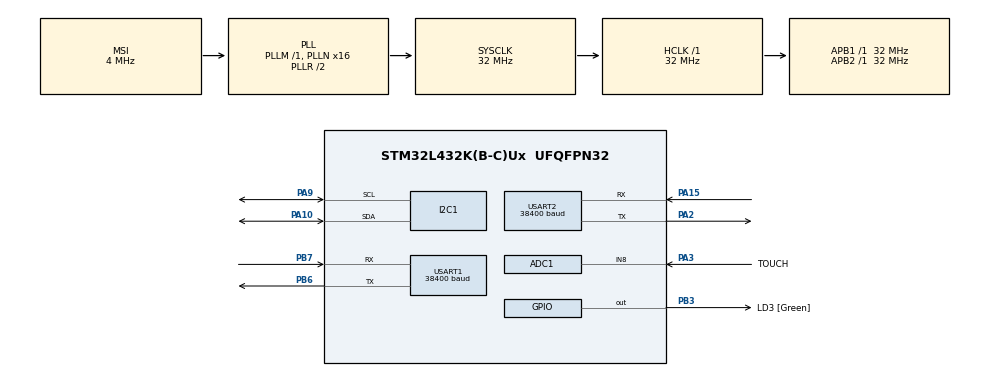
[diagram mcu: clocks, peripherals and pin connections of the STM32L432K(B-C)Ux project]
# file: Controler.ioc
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ADC1.Channel-0\#ChannelRegularConversion=ADC_CHANNEL_8
ADC1.ContinuousConvMode=DISABLE
ADC1.NbrOfConversionFlag=1
ADC1.OffsetNumber-0\#ChannelRegularConversion=ADC_OFFSET_NONE
ADC1.Rank-0\#ChannelRegularConversion=1
ADC1.SamplingTime-0\#ChannelRegularConversion=ADC_SAMPLETIME_2CYCLES_5
ADC1.master=1
I2C1.Timing=0x00707CBB
Mcu.Family=STM32L4
Mcu.Name=STM32L432K(B-C)Ux
Mcu.Package=UFQFPN32
NVIC.ADC1_IRQn=true\:0\:0\:false\:false\:true\:true\:true\:true
NVIC.PriorityGroup=NVIC_PRIORITYGROUP_4
NVIC.TIM2_IRQn=true\:0\:0\:false\:false\:true\:true\:true\:true
PA0.GPIO_Label=MCO [High speed clock in]
PA0.Mode=HSE-External-Clock-Source-for-LittleOrca
PA0.Signal=RCC_CK_IN
PA10.Mode=I2C
PA10.Signal=I2C1_SDA
PA13\ (JTMS-SWDIO).GPIO_Label=SWDIO
PA13\ (JTMS-SWDIO).Mode=Serial_Wire
PA13\ (JTMS-SWDIO).Signal=SYS_JTMS-SWDIO
PA14\ (JTCK-SWCLK).GPIO_Label=SWCLK
PA14\ (JTCK-SWCLK).Mode=Serial_Wire
PA14\ (JTCK-SWCLK).Signal=SYS_JTCK-SWCLK
PA15\ (JTDI).Mode=Asynchronous
PA15\ (JTDI).Signal=USART2_RX
PA2.Mode=Asynchronous
PA2.Signal=USART2_TX
PA3.GPIO_Label=TOUCH
PA3.Signal=ADCx_IN8
PA9.Mode=I2C
PA9.Signal=I2C1_SCL
PB3\ (JTDO-TRACESWO).GPIO_Label=LD3 [Green]
PB3\ (JTDO-TRACESWO).Signal=GPIO_Output
PB6.Mode=Asynchronous
PB6.Signal=USART1_TX
PB7.Mode=Asynchronous
PB7.Signal=USART1_RX
PC14-OSC32_IN\ (PC14).Mode=LSE-External-Oscillator
PC14-OSC32_IN\ (PC14).Signal=RCC_OSC32_IN
PC15-OSC32_OUT\ (PC15).Mode=LSE-External-Oscillator
PC15-OSC32_OUT\ (PC15).Signal=RCC_OSC32_OUT
ProjectManager.HeapSize=0x200
ProjectManager.StackSize=0x400
ProjectManager.TargetToolchain=STM32CubeIDE
RCC.ADCFreq_Value=32000000
RCC.AHBFreq_Value=32000000
RCC.APB1Freq_Value=32000000
RCC.APB1TimFreq_Value=32000000
RCC.APB2Freq_Value=32000000
RCC.APB2TimFreq_Value=32000000
RCC.CortexFreq_Value=32000000
RCC.HCLKFreq_Value=32000000
RCC.HSE_VALUE=8000000
RCC.HSI16_VALUE=16000000
RCC.HSI48_VALUE=48000000
RCC.HSI_VALUE=16000000
RCC.MSI_VALUE=4000000
RCC.PLLMUL=RCC_PLLMUL_4
RCC.PLLN=16
RCC.PLLSAI1N=16
RCC.SYSCLKFreq_VALUE=32000000
RCC.SYSCLKSource=RCC_SYSCLKSOURCE_PLLCLK
RCC.USBFreq_Value=32000000
RCC.VCOOutputFreq_Value=64000000
SH.ADCx_IN8.0=ADC1_IN8,IN8-Single-Ended
TIM2.AutoReloadPreload=TIM_AUTORELOAD_PRELOAD_ENABLE
TIM2.Period=1000
TIM2.Prescaler=3199
USART1.BaudRate=38400
USART1.VirtualMode-Asynchronous=VM_ASYNC
USART2.BaudRate=38400
USART2.VirtualMode-Asynchronous=VM_ASYNC
VP_TIM2_VS_ClockSourceINT.Mode=Internal
board=NUCLEO-L432KC

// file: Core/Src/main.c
/* USER CODE BEGIN Header */
/**
  ******************************************************************************
  * @file           : main.c
  * @brief          : Main program body
  ******************************************************************************
  * @attention
  *
  * Copyright (c) 2022 STMicroelectronics.
  * All rights reserved.
  *
  * This software is licensed under terms that can be found in the LICENSE file
  * in the root directory of this software component.
  * If no LICENSE file comes with this software, it is provided AS-IS.
  *
  ******************************************************************************
  */
/* USER CODE END Header */
#include "main.h"
#include "adc.h"
#include "i2c.h"
#include "tim.h"
#include "usart.h"
#include "gpio.h"

/* USER CODE BEGIN Includes */
#include <stdio.h>
#include "mpu6050.h"
#include "parser.h"
/* USER CODE END Includes */

/* USER CODE BEGIN PD */
#define TxBuf_SIZE 24
#define FORCE_LIMIT 1000
/* USER CODE END PD */

/* USER CODE BEGIN PV */
uint8_t f_initialized = 0;

MPU6050_t mpu;
MPU6050_t mpu_empty = {0};
uint32_t value;
uint8_t TxBuf[TxBuf_SIZE];
/* USER CODE END PV */

void SystemClock_Config(void);

/* USER CODE BEGIN 0 */
void HAL_TIM_PeriodElapsedCallback(TIM_HandleTypeDef* htim)
{
    if(htim == &htim2)
    {
    	if(f_initialized == 1)
    	{
    		if (HAL_ADC_PollForConversion(&hadc1, 10) == HAL_OK)
    		{
				value = HAL_ADC_GetValue(&hadc1);
				HAL_ADC_Start(&hadc1);
    		}
    		else
    		{
    			if(ParseAccelAngles(TxBuf, TxBuf_SIZE, &mpu_empty) == HAL_OK)
				{
					HAL_UART_Transmit(&huart1, TxBuf, TxBuf_SIZE,100);
					HAL_UART_Transmit(&huart2, TxBuf, TxBuf_SIZE,100);
					HAL_GPIO_TogglePin(LD3_GPIO_Port, LD3_Pin);
				}
    		}

    		if(value > FORCE_LIMIT)
    		{
        		MPU6050_Read_All(&hi2c1, &mpu);
        		if(ParseAccelAngles(TxBuf, TxBuf_SIZE, &mpu) == HAL_OK)
        		{
        			HAL_UART_Transmit(&huart1, TxBuf, TxBuf_SIZE,100);
        			HAL_UART_Transmit(&huart2, TxBuf, TxBuf_SIZE,100);
        			HAL_GPIO_TogglePin(LD3_GPIO_Port, LD3_Pin);
        		}
    		}
    		else
    		{
    			if(ParseAccelAngles(TxBuf, TxBuf_SIZE, &mpu_empty) == HAL_OK)
				{
					HAL_UART_Transmit(&huart1, TxBuf, TxBuf_SIZE,100);
					HAL_UART_Transmit(&huart2, TxBuf, TxBuf_SIZE,100);
					HAL_GPIO_TogglePin(LD3_GPIO_Port, LD3_Pin);
				}
    		}
    	}
    }
}
/* USER CODE END 0 */

int main(void)
{

  /* MCU Configuration--------------------------------------------------------*/

  /* Reset of all peripherals, Initializes the Flash interface and the Systick. */
  HAL_Init();

  /* Configure the system clock */
  SystemClock_Config();

  /* Initialize all configured peripherals */
  MX_GPIO_Init();
  MX_I2C1_Init();
  MX_USART1_UART_Init();
  MX_TIM2_Init();
  MX_USART2_UART_Init();
  MX_ADC1_Init();
  /* USER CODE BEGIN 2 */
  if(MPU6050_Init(&hi2c1))
    {
  	  Error_Handler();
    }

    if (HAL_TIM_Base_Start_IT(&htim2) != HAL_OK)
    {
  	  Error_Handler();
    }

    HAL_ADC_Start(&hadc1);

    f_initialized = 1;
  //HAL_UART_Transmit(&huart1, test, 4, 10);
  /* USER CODE END 2 */

  /* Infinite loop */
  while (1)
  {

  }
}

void SystemClock_Config(void)
{
  RCC_OscInitTypeDef RCC_OscInitStruct = {0};
  RCC_ClkInitTypeDef RCC_ClkInitStruct = {0};

  /** Configure the main internal regulator output voltage
  */
  if (HAL_PWREx_ControlVoltageScaling(PWR_REGULATOR_VOLTAGE_SCALE1) != HAL_OK)
  {
    Error_Handler();
  }

  /** Configure LSE Drive Capability
  */
  HAL_PWR_EnableBkUpAccess();
  __HAL_RCC_LSEDRIVE_CONFIG(RCC_LSEDRIVE_LOW);

  /** Initializes the RCC Oscillators according to the specified parameters
  * in the RCC_OscInitTypeDef structure.
  */
  RCC_OscInitStruct.OscillatorType = RCC_OSCILLATORTYPE_LSE|RCC_OSCILLATORTYPE_MSI;
  RCC_OscInitStruct.LSEState = RCC_LSE_ON;
  RCC_OscInitStruct.MSIState = RCC_MSI_ON;
  RCC_OscInitStruct.MSICalibrationValue = 0;
  RCC_OscInitStruct.MSIClockRange = RCC_MSIRANGE_6;
  RCC_OscInitStruct.PLL.PLLState = RCC_PLL_ON;
  RCC_OscInitStruct.PLL.PLLSource = RCC_PLLSOURCE_MSI;
  RCC_OscInitStruct.PLL.PLLM = 1;
  RCC_OscInitStruct.PLL.PLLN = 16;
  RCC_OscInitStruct.PLL.PLLP = RCC_PLLP_DIV7;
  RCC_OscInitStruct.PLL.PLLQ = RCC_PLLQ_DIV2;
  RCC_OscInitStruct.PLL.PLLR = RCC_PLLR_DIV2;
  if (HAL_RCC_OscConfig(&RCC_OscInitStruct) != HAL_OK)
  {
    Error_Handler();
  }

  /** Initializes the CPU, AHB and APB buses clocks
  */
  RCC_ClkInitStruct.ClockType = RCC_CLOCKTYPE_HCLK|RCC_CLOCKTYPE_SYSCLK
                              |RCC_CLOCKTYPE_PCLK1|RCC_CLOCKTYPE_PCLK2;
  RCC_ClkInitStruct.SYSCLKSource = RCC_SYSCLKSOURCE_PLLCLK;
  RCC_ClkInitStruct.AHBCLKDivider = RCC_SYSCLK_DIV1;
  RCC_ClkInitStruct.APB1CLKDivider = RCC_HCLK_DIV1;
  RCC_ClkInitStruct.APB2CLKDivider = RCC_HCLK_DIV1;

  if (HAL_RCC_ClockConfig(&RCC_ClkInitStruct, FLASH_LATENCY_1) != HAL_OK)
  {
    Error_Handler();
  }

  /** Enable MSI Auto calibration
  */
  HAL_RCCEx_EnableMSIPLLMode();
}

void Error_Handler(void)
{
  __disable_irq();
  while (1)
  {
  }
}
